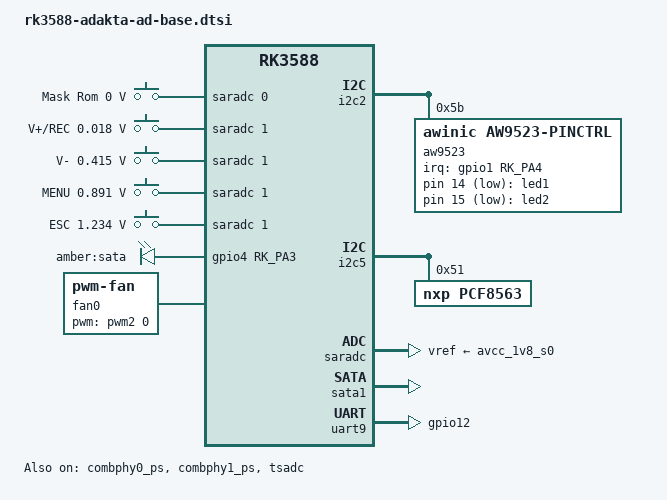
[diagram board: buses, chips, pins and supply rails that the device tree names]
// SPDX-License-Identifier: (GPL-2.0+ OR MIT)
/*
 * Copyright (c) 2024 Adakta, Ltd.
 *
 */

/dts-v1/;

#include <dt-bindings/gpio/gpio.h>
#include <dt-bindings/input/input.h>
#include <dt-bindings/leds/common.h>
#include <dt-bindings/soc/rockchip,vop2.h>
#include <dt-bindings/usb/pd.h>
#include "rk3588.dtsi"

#include "rk3588-adakta-ad-base-can.dtsi"
#include "rk3588-adakta-ad-base-display.dtsi"
#include "rk3588-adakta-ad-base-ethernet.dtsi"
#include "rk3588-adakta-ad-base-gpio.dtsi"
#include "rk3588-adakta-ad-base-i2c.dtsi"
#include "rk3588-adakta-ad-base-i2s.dtsi"
#include "rk3588-adakta-ad-base-mmc.dtsi"
#include "rk3588-adakta-ad-base-sound.dtsi"
#include "rk3588-adakta-ad-base-spi.dtsi"
#include "rk3588-adakta-ad-base-pcie.dtsi"
#include "rk3588-adakta-ad-base-pmu.dtsi"
#include "rk3588-adakta-ad-base-pwm.dtsi"
#include "rk3588-adakta-ad-base-uart.dtsi"
#include "rk3588-adakta-ad-base-usb.dtsi"

/ {
	chosen {
		stdout-path = "serial2:1500000n8";
	};

	adc-keys-0 {
		compatible = "adc-keys";
		io-channels = <&saradc 0>;
		io-channel-names = "buttons";
		keyup-threshold-microvolt = <1800000>;
		poll-interval = <100>;

		button-maskrom {
			label = "Mask Rom";
			linux,code = <KEY_SETUP>;
			press-threshold-microvolt = <393>;
		};
	};

	adc-keys-1 {
		compatible = "adc-keys";
		io-channels = <&saradc 1>;
		io-channel-names = "buttons";
		keyup-threshold-microvolt = <1800000>;
		poll-interval = <100>;

		button-volume-up {
			label = "V+/REC";
			linux,code = <KEY_VOLUMEUP>;
			press-threshold-microvolt = <17821>;
		};

		button-volume-down {
			label = "V-";
			linux,code = <KEY_VOLUMEDOWN>;
			press-threshold-microvolt = <415384>;
		};

		button-menu {
			label = "MENU";
			linux,code = <KEY_MENU>;
			press-threshold-microvolt = <890909>;
		};

		button-esc {
			label = "ESC";
			linux,code = <KEY_ESC>;
			press-threshold-microvolt = <1233962>;
		};
	};

	gpio-leds {
		compatible = "gpio-leds";
		pinctrl-names = "default";
		pinctrl-0 = <&led_sata_en &aw9523_led_pins>;

		aw9523_led_1: led1 {
			label = "led1";
			gpios = <&aw9523 14 GPIO_ACTIVE_LOW>;
		};

		aw9523_led_2: led2 {
			label = "led2";
			gpios = <&aw9523 15 GPIO_ACTIVE_LOW>;
		};

		led_sata: sata {
			label = "amber:sata";
			gpios = <&gpio4 RK_PA3 GPIO_ACTIVE_HIGH>;
		};
	};

	gpio-keys {
		compatible = "gpio-keys";
	};

	fan0: pwm-fan {
		compatible = "pwm-fan";
		#cooling-cells = <2>;
		cooling-levels = <72 94 117 139 162 184 207 229 255>;
		pwms = <&pwm2 0 10000 0>;
	};
};

&pinctrl {
	aw9523 {
		aw9523_int: aw9523-int-pin {
			rockchip,pins = <1 RK_PA4 RK_FUNC_GPIO &pcfg_pull_up>;
		};
	};

	sata {
		led_sata_en: led-sata-en {
			rockchip,pins = <4 RK_PA3 RK_FUNC_GPIO &pcfg_output_high>;
		};
	};
};

&combphy0_ps {
	status = "okay";
};

&combphy1_ps {
	status = "okay";
};

&combphy2_psu {
	status = "disabled";
};

&i2c2 {
	aw9523: gpio-expander@5b {
		compatible = "awinic,aw9523-pinctrl";
		reg = <0x5b>;
		gpio-controller;
		#gpio-cells = <2>;

		pinctrl-names = "default";
		pinctrl-0 = <&aw9523_int>;

		interrupts-extended = <&gpio1 RK_PA4 IRQ_TYPE_EDGE_FALLING>;

		status = "okay";

		/* GPIO_P00 */
		/omit-if-no-ref/
		aw9523_cam0_reset_pins: aw9523-cam0-reset-pins {
			pins = "gpio0";
			function = "gpio";
			input-disable;
			output-high;
		};

		/* GPIO_P01 */
		/omit-if-no-ref/
		aw9523_cam0_powerdown_pins: aw9523-cam0-powerdown-pins {
			pins = "gpio1";
			function = "gpio";
			input-disable;
			output-low;
		};

		/* GPIO_P02 */
		/omit-if-no-ref/
		aw9523_cam1_reset_pins: aw9523-cam1-reset-pins {
			pins = "gpio2";
			function = "gpio";
			input-disable;
			output-high;
		};

		/* GPIO_P03 */
		/omit-if-no-ref/
		aw9523_cam1_powerdown_pins: aw9523-cam1-powerdown-pins {
			pins = "gpio3";
			function = "gpio";
			input-disable;
			output-low;
		};

		/* GPIO_P04 */
		/omit-if-no-ref/
		aw9523_cam2_reset_pins: aw9523-cam2-reset-pins {
			pins = "gpio4";
			function = "gpio";
			input-disable;
			output-high;
		};

		/* GPIO_P05 */
		/omit-if-no-ref/
		aw9523_cam2_powerdown_pins: aw9523-cam2-powerdown-pins {
			pins = "gpio5";
			function = "gpio";
			input-disable;
			output-low;
		};

		/* GPIO_P06 */
		/omit-if-no-ref/
		aw9523_cam3_reset_pins: aw9523-cam3-reset-pins {
			pins = "gpio6";
			function = "gpio";
			input-disable;
			output-high;
		};

		/* GPIO_P07 */
		/omit-if-no-ref/
		aw9523_cam3_powerdown_pins: aw9523-cam3-powerdown-pins {
			pins = "gpio7";
			function = "gpio";
			input-disable;
			output-low;
		};

		/* GPIO_P10 */
		/omit-if-no-ref/
		aw9523_cam4_reset_pins: aw9523-cam4-reset-pins {
			pins = "gpio8";
			function = "gpio";
			input-disable;
			output-high;
		};

		/* GPIO_P11 */
		/omit-if-no-ref/
		aw9523_cam4_powerdown_pins: aw9523-cam4-powerdown-pins {
			pins = "gpio9";
			function = "gpio";
			input-disable;
			output-low;
		};

		/* GPIO_P12 */
		/omit-if-no-ref/
		aw9523_cam5_reset_pins: aw9523-cam5-reset-pins {
			pins = "gpio10";
			function = "gpio";
			input-disable;
			output-high;
		};

		/* GPIO_P13 */
		/omit-if-no-ref/
		aw9523_cam5_powerdown_pins: aw9523-cam5-powerdown-pins {
			pins = "gpio11";
			function = "gpio";
			input-disable;
			output-low;
		};

		/* GPIO_P14 */
		/omit-if-no-ref/
		aw9523_uart_rs485_re_de_pins: aw9523-uart-rs485-re-de-pins {
			pins = "gpio12";
			function = "gpio";
			input-disable;
			output-high;
		};

		/* GPIO_P15 - N/C */
		/omit-if-no-ref/
		aw9523_bt_host_wake_pins: aw9523-bt-host-wake-pins {
			pins = "gpio13";
			function = "gpio";
			input-disable;
			output-low;
		};

		/* GPIO_P16 - N/C */
		/omit-if-no-ref/
		aw9523_wifi_disable_pins: aw9523-wifi-disable-pins {
			pins = "gpio14";
			function = "gpio";
			input-disable;
			output-high;
		};

		/* GPIO_P17 - N/C */
		/omit-if-no-ref/
		aw9523_bt_disable_pins: aw9523-bt-disable-pins {
			pins = "gpio15";
			function = "gpio";
			input-disable;
			output-high;
		};

		/* GPIO_P16 / GPIO_P17 */
		/omit-if-no-ref/
		aw9523_led_pins: aw9523-led-pins {
			pins = "gpio14", "gpio15";
			function = "gpio";
			input-disable;
			output-low;
		};
	};
};

&i2c5 {
	pcf8563: pcf8563@51 {
		compatible = "nxp,pcf8563";
		reg = <0x51>;
		status = "okay";
	};
};

&saradc {
	status = "okay";
	vref-supply = <&avcc_1v8_s0>;
};

&sata1 {
	status = "okay";
};

&tsadc {
	status = "okay";
};

&uart9 {
	pinctrl-names = "default";
	pinctrl-0 = <&uart9m2_xfer &aw9523_uart_rs485_re_de_pins>;
	status = "okay";
};
